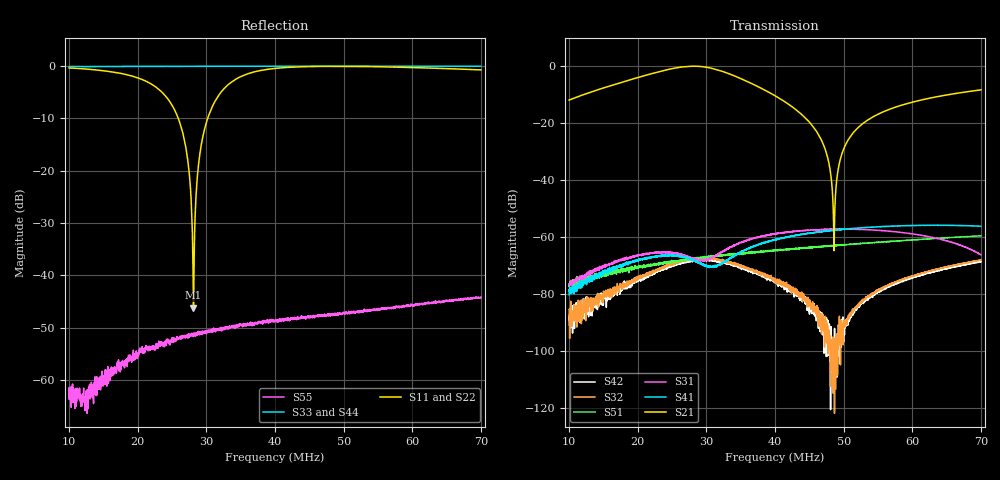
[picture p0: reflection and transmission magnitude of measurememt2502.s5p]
#  HZ  S  RI  R  50.00
! Rohde & Schwarz ZVT8 8Ports - Version 4.11 - 1300.0000k08 SN: 100242
! Date: 2026-07-06 11:29:25
! Measurements: S11 S12 S13 S14 S15 S21 S22 S23 S24 S25 S31 S32 S33 S34 S35 S41 S42 S43 S44 S45 S51 S52 S53 S54 S55
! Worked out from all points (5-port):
!   3001 points, 10 MHz to 70 MHz, reference 50 ohm
!   strongest paths, dB at 10 MHz, 25 MHz, 40 MHz, 55 MHz, 70 MHz:
!     S21: -11.9, -0.9, -10.4, -16.9, -8.4
!     S41: -80.3, -66.6, -60.8, -56.4, -56.2
!     S31: -76.6, -65.6, -58.8, -57.7, -66.2
!     S51: -76.6, -68.7, -64.7, -61.9, -59.6
!     S32: -89.3, -69.4, -74.6, -79.0, -68.1
!     S42: -88.8, -70.2, -75.5, -79.4, -68.7
!   lowest |S11| = -46.2 dB at 28.12 MHz (marker M1), VSWR 1.01, Z = 50.5 + j0.122 ohm
!   |S11| at or under -10 dB: 25.9 MHz to 30.19 MHz (4.285 MHz wide, 15.3 % of centre)
